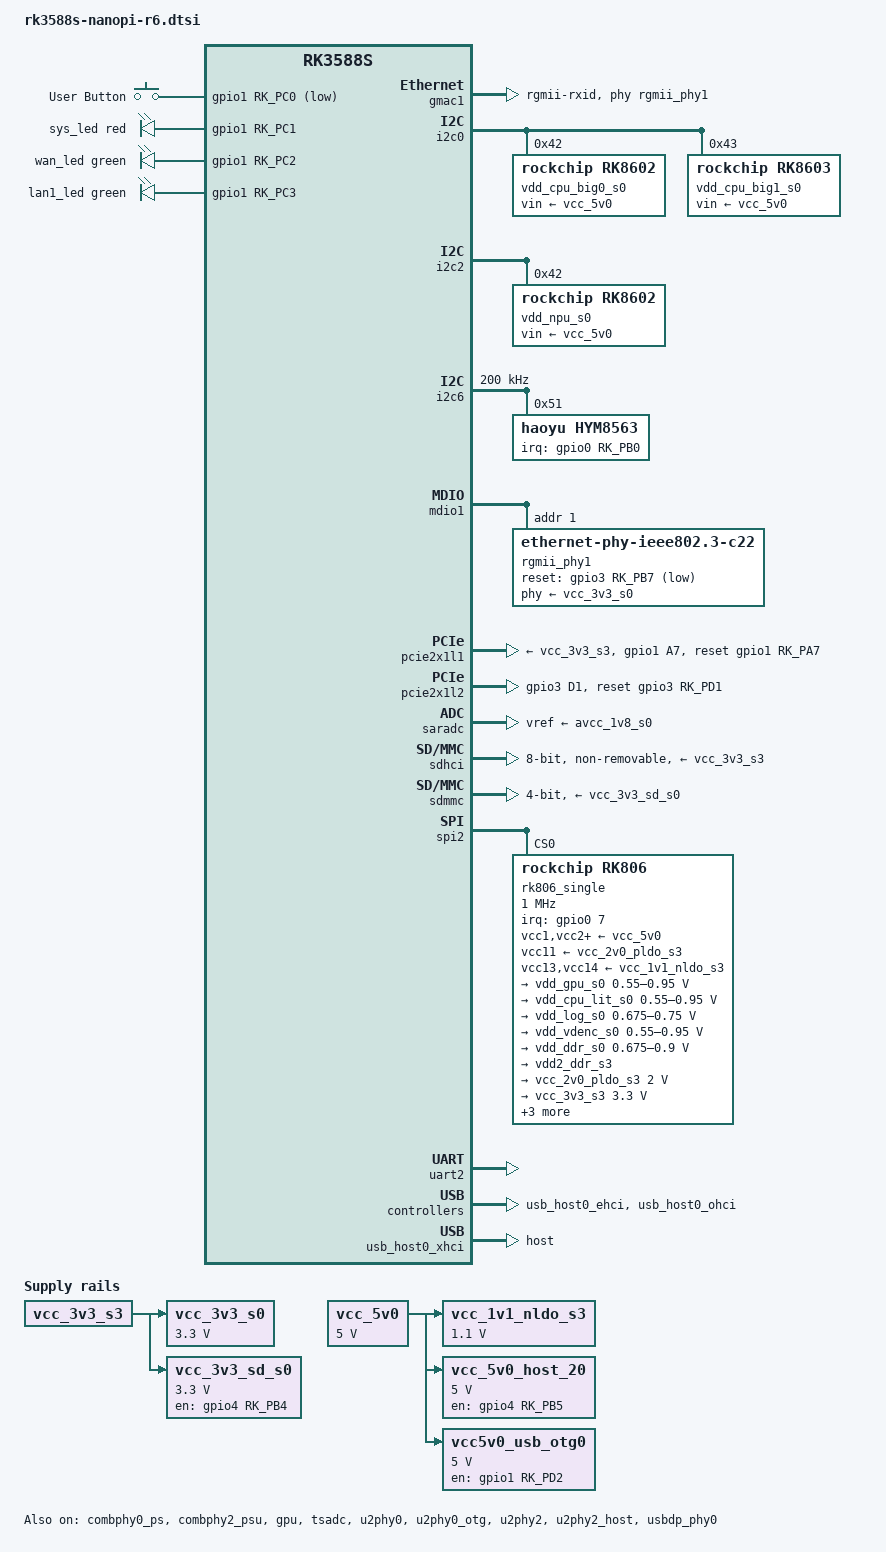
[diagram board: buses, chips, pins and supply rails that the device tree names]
// SPDX-License-Identifier: (GPL-2.0+ OR MIT)
/*
 * Common devicetree definitions for the NanoPi R6C and R6S
 */

/dts-v1/;

#include <dt-bindings/pinctrl/rockchip.h>
#include <dt-bindings/gpio/gpio.h>
#include <dt-bindings/input/input.h>
#include <dt-bindings/leds/common.h>
#include "rk3588s.dtsi"

/ {
	aliases {
		ethernet0 = &gmac1;
		mmc0 = &sdmmc;
		mmc1 = &sdhci;
	};

	chosen {
		stdout-path = "serial2:1500000n8";
	};

	gpio-keys {
		compatible = "gpio-keys";
		pinctrl-names = "default";
		pinctrl-0 = <&key1_pin>;

		button-user {
			debounce-interval = <50>;
			gpios = <&gpio1 RK_PC0 GPIO_ACTIVE_LOW>;
			label = "User Button";
			linux,code = <KEY_RESTART>;
		};
	};

	leds {
		compatible = "gpio-leds";

		sys_led: led-0 {
			color = <LED_COLOR_ID_RED>;
			function = LED_FUNCTION_HEARTBEAT;
			gpios = <&gpio1 RK_PC1 GPIO_ACTIVE_HIGH>;
			linux,default-trigger = "heartbeat";
			pinctrl-names = "default";
			pinctrl-0 = <&sys_led_pin>;
		};

		wan_led: led-1 {
			color = <LED_COLOR_ID_GREEN>;
			function = LED_FUNCTION_WAN;
			gpios = <&gpio1 RK_PC2 GPIO_ACTIVE_HIGH>;
			pinctrl-names = "default";
			pinctrl-0 = <&wan_led_pin>;
		};

		lan1_led: led-2 {
			color = <LED_COLOR_ID_GREEN>;
			function = LED_FUNCTION_LAN;
			gpios = <&gpio1 RK_PC3 GPIO_ACTIVE_HIGH>;
			pinctrl-names = "default";
			pinctrl-0 = <&lan1_led_pin>;
		};
	};

	vcc_5v0: regulator-vcc-5v0 {
		compatible = "regulator-fixed";
		regulator-always-on;
		regulator-boot-on;
		regulator-min-microvolt = <5000000>;
		regulator-max-microvolt = <5000000>;
		regulator-name = "vcc_5v0";
	};

	vcc_1v1_nldo_s3: regulator-vcc-1v1-nldo-s3 {
		compatible = "regulator-fixed";
		regulator-always-on;
		regulator-boot-on;
		regulator-min-microvolt = <1100000>;
		regulator-max-microvolt = <1100000>;
		regulator-name = "vcc_1v1_nldo_s3";
		vin-supply = <&vcc_5v0>;
	};

	/* SY6280AAC power switch (U3824 in schematics) */
	vcc_3v3_s0: regulator-vcc-3v3-s0 {
		compatible = "regulator-fixed";
		regulator-always-on;
		regulator-boot-on;
		regulator-min-microvolt = <3300000>;
		regulator-max-microvolt = <3300000>;
		regulator-name = "vcc_3v3_s0";
		vin-supply = <&vcc_3v3_s3>;
	};

	vcc_3v3_sd_s0: regulator-vcc-3v3-sd-s0 {
		compatible = "regulator-fixed";
		enable-active-high;
		gpios = <&gpio4 RK_PB4 GPIO_ACTIVE_HIGH>;
		pinctrl-names = "default";
		pinctrl-0 = <&sd_s0_pwr>;
		regulator-boot-on;
		regulator-max-microvolt = <3300000>;
		regulator-min-microvolt = <3300000>;
		regulator-name = "vcc_3v3_sd_s0";
		vin-supply = <&vcc_3v3_s3>;
	};

	/* SY6280AAC power switch (U9539 in schematics) */
	/* For USB 2.0 Type-A port */
	vcc_5v0_host_20: regulator-vcc-5v0-host-20 {
		compatible = "regulator-fixed";
		enable-active-high;
		gpios = <&gpio4 RK_PB5 GPIO_ACTIVE_HIGH>;
		pinctrl-names = "default";
		pinctrl-0 = <&usb_host_pwren_h>;
		regulator-min-microvolt = <5000000>;
		regulator-max-microvolt = <5000000>;
		regulator-name = "vcc_5v0_host_20";
		vin-supply = <&vcc_5v0>;
	};

	/* SY6280AAC power switch (U9538 in schematics) */
	/* For USB 3.0 Type-A port */
	vcc5v0_usb_otg0: regulator-vcc5v0-usb-otg0 {
		compatible = "regulator-fixed";
		enable-active-high;
		gpios = <&gpio1 RK_PD2 GPIO_ACTIVE_HIGH>;
		pinctrl-names = "default";
		pinctrl-0 = <&typec5v_pwren_h>;
		regulator-min-microvolt = <5000000>;
		regulator-max-microvolt = <5000000>;
		regulator-name = "vcc5v0_usb_otg0";
		vin-supply = <&vcc_5v0>;
	};
};

&combphy0_ps {
	status = "okay";
};

&combphy2_psu {
	status = "okay";
};

&cpu_b0 {
	cpu-supply = <&vdd_cpu_big0_s0>;
};

&cpu_b1 {
	cpu-supply = <&vdd_cpu_big0_s0>;
};

&cpu_b2 {
	cpu-supply = <&vdd_cpu_big1_s0>;
};

&cpu_b3 {
	cpu-supply = <&vdd_cpu_big1_s0>;
};

&cpu_l0 {
	cpu-supply = <&vdd_cpu_lit_s0>;
};

&cpu_l1 {
	cpu-supply = <&vdd_cpu_lit_s0>;
};

&cpu_l2 {
	cpu-supply = <&vdd_cpu_lit_s0>;
};

&cpu_l3 {
	cpu-supply = <&vdd_cpu_lit_s0>;
};

&gmac1 {
	clock_in_out = "output";
	phy-handle = <&rgmii_phy1>;
	phy-mode = "rgmii-rxid";
	pinctrl-names = "default";
	pinctrl-0 = <&gmac1_miim
		     &gmac1_tx_bus2
		     &gmac1_rx_bus2
		     &gmac1_rgmii_clk
		     &gmac1_rgmii_bus>;
	rx_delay = <0x00>;
	tx_delay = <0x42>;
	status = "okay";
};

&gpu {
	mali-supply = <&vdd_gpu_s0>;
	sram-supply = <&vdd_gpu_mem_s0>;
	status = "okay";
};

&i2c0 {
	pinctrl-names = "default";
	pinctrl-0 = <&i2c0m2_xfer>;
	status = "okay";

	vdd_cpu_big0_s0: regulator@42 {
		compatible = "rockchip,rk8602";
		reg = <0x42>;
		fcs,suspend-voltage-selector = <1>;
		regulator-always-on;
		regulator-boot-on;
		regulator-min-microvolt = <550000>;
		regulator-max-microvolt = <1050000>;
		regulator-name = "vdd_cpu_big0_s0";
		regulator-ramp-delay = <2300>;
		vin-supply = <&vcc_5v0>;

		regulator-state-mem {
			regulator-off-in-suspend;
		};
	};

	vdd_cpu_big1_s0: regulator@43 {
		compatible = "rockchip,rk8603", "rockchip,rk8602";
		reg = <0x43>;
		fcs,suspend-voltage-selector = <1>;
		regulator-always-on;
		regulator-boot-on;
		regulator-min-microvolt = <550000>;
		regulator-max-microvolt = <1050000>;
		regulator-name = "vdd_cpu_big1_s0";
		regulator-ramp-delay = <2300>;
		vin-supply = <&vcc_5v0>;

		regulator-state-mem {
			regulator-off-in-suspend;
		};
	};
};

&i2c2 {
	status = "okay";

	vdd_npu_s0: regulator@42 {
		compatible = "rockchip,rk8602";
		reg = <0x42>;
		fcs,suspend-voltage-selector = <1>;
		regulator-always-on;
		regulator-boot-on;
		regulator-min-microvolt = <550000>;
		regulator-max-microvolt = <950000>;
		regulator-name = "vdd_npu_s0";
		regulator-ramp-delay = <2300>;
		vin-supply = <&vcc_5v0>;

		regulator-state-mem {
			regulator-off-in-suspend;
		};
	};
};

&i2c6 {
	clock-frequency = <200000>;
	pinctrl-names = "default";
	pinctrl-0 = <&i2c6m0_xfer>;
	status = "okay";

	hym8563: rtc@51 {
		compatible = "haoyu,hym8563";
		reg = <0x51>;
		#clock-cells = <0>;
		clock-output-names = "hym8563";
		interrupt-parent = <&gpio0>;
		interrupts = <RK_PB0 IRQ_TYPE_LEVEL_LOW>;
		pinctrl-names = "default";
		pinctrl-0 = <&rtc_int>;
		wakeup-source;
	};
};

/* RTL8211F-CG Ethernet */
&mdio1 {
	rgmii_phy1: ethernet-phy@1 {
		compatible = "ethernet-phy-ieee802.3-c22";
		reg = <0x1>;
		phy-supply = <&vcc_3v3_s0>;
		pinctrl-names = "default";
		pinctrl-0 = <&gmac1_rstn_l>;
		reset-assert-us = <20000>;
		reset-deassert-us = <100000>;
		reset-gpios = <&gpio3 RK_PB7 GPIO_ACTIVE_LOW>;
	};
};

/* RTL8125BG Ethernet */
&pcie2x1l1 {
	pinctrl-names = "default";
	pinctrl-0 = <&pcie20x1_1_perstn_m2>;
	reset-gpios = <&gpio1 RK_PA7 GPIO_ACTIVE_HIGH>;
	vpcie3v3-supply = <&vcc_3v3_s3>;
	status = "okay";
};

/* R6C: M.2 M-Key socket */
/* R6S: RTL8125BG Ethernet */
&pcie2x1l2 {
	pinctrl-names = "default";
	pinctrl-0 = <&pcie20x1_2_perstn_m0>;
	reset-gpios = <&gpio3 RK_PD1 GPIO_ACTIVE_HIGH>;
	status = "okay";
};

&pinctrl {
	gpio-key {
		key1_pin: key1-pin {
			rockchip,pins = <1 RK_PC0 RK_FUNC_GPIO &pcfg_pull_up>;
		};
	};

	gpio-leds {
		sys_led_pin: sys-led-pin {
			rockchip,pins = <1 RK_PC1 RK_FUNC_GPIO &pcfg_pull_none>;
		};

		wan_led_pin: wan-led-pin {
			rockchip,pins = <1 RK_PC2 RK_FUNC_GPIO &pcfg_pull_none>;
		};

		lan1_led_pin: lan1-led-pin {
			rockchip,pins = <1 RK_PC3 RK_FUNC_GPIO &pcfg_pull_none>;
		};
	};

	hym8563 {
		rtc_int: rtc-int {
			rockchip,pins = <0 RK_PB0 RK_FUNC_GPIO &pcfg_pull_up>;
		};
	};

	pcie {
		pcie20x1_1_perstn_m2: pcie2x1-1-rst {
			rockchip,pins = <1 RK_PA7 RK_FUNC_GPIO &pcfg_pull_none>;
		};

		pcie20x1_2_perstn_m0: pcie2x1-2-rst {
			rockchip,pins = <3 RK_PD1 RK_FUNC_GPIO &pcfg_pull_none>;
		};
	};

	sdmmc {
		sd_s0_pwr: sd-pwr {
			rockchip,pins = <4 RK_PB4 RK_FUNC_GPIO &pcfg_pull_up>;
		};
	};

	usb {
		typec5v_pwren_h: usb3-pwren {
			rockchip,pins = <1 RK_PD2 RK_FUNC_GPIO &pcfg_pull_none>;
		};

		usb_host_pwren_h: usb2-pwren {
			rockchip,pins = <4 RK_PB5 RK_FUNC_GPIO &pcfg_pull_none>;
		};
	};

	rtl8211f {
		gmac1_rstn_l: rtl8211f-rst {
			rockchip,pins = <3 RK_PB7 RK_FUNC_GPIO &pcfg_pull_none>;
		};
	};
};

&saradc {
	vref-supply = <&avcc_1v8_s0>;
	status = "okay";
};

/* eMMC */
&sdhci {
	bus-width = <8>;
	mmc-hs200-1_8v;
	no-sd;
	no-sdio;
	non-removable;
	vmmc-supply = <&vcc_3v3_s3>;
	vqmmc-supply = <&vcc_1v8_s3>;
	status = "okay";
};

/* microSD card */
&sdmmc {
	bus-width = <4>;
	cap-sd-highspeed;
	disable-wp;
	max-frequency = <150000000>;
	no-mmc;
	no-sdio;
	sd-uhs-sdr104;
	vmmc-supply = <&vcc_3v3_sd_s0>;
	vqmmc-supply = <&vccio_sd_s0>;
	status = "okay";
};

&spi2 {
	assigned-clocks = <&cru CLK_SPI2>;
	assigned-clock-rates = <200000000>;
	num-cs = <1>;
	pinctrl-names = "default";
	pinctrl-0 = <&spi2m2_cs0 &spi2m2_pins>;
	status = "okay";

	rk806_single: pmic@0 {
		compatible = "rockchip,rk806";
		reg = <0x0>;

		interrupt-parent = <&gpio0>;
		interrupts = <7 IRQ_TYPE_LEVEL_LOW>;

		pinctrl-names = "default";
		pinctrl-0 = <&pmic_pins>, <&rk806_dvs1_null>,
			    <&rk806_dvs2_null>, <&rk806_dvs3_null>;

		spi-max-frequency = <1000000>;
		system-power-controller;

		vcc1-supply = <&vcc_5v0>;
		vcc2-supply = <&vcc_5v0>;
		vcc3-supply = <&vcc_5v0>;
		vcc4-supply = <&vcc_5v0>;
		vcc5-supply = <&vcc_5v0>;
		vcc6-supply = <&vcc_5v0>;
		vcc7-supply = <&vcc_5v0>;
		vcc8-supply = <&vcc_5v0>;
		vcc9-supply = <&vcc_5v0>;
		vcc10-supply = <&vcc_5v0>;
		vcc11-supply = <&vcc_2v0_pldo_s3>;
		vcc12-supply = <&vcc_5v0>;
		vcc13-supply = <&vcc_1v1_nldo_s3>;
		vcc14-supply = <&vcc_1v1_nldo_s3>;
		vcca-supply = <&vcc_5v0>;

		gpio-controller;
		#gpio-cells = <2>;

		rk806_dvs1_null: dvs1-null-pins {
			pins = "gpio_pwrctrl1";
			function = "pin_fun0";
		};

		rk806_dvs2_null: dvs2-null-pins {
			pins = "gpio_pwrctrl2";
			function = "pin_fun0";
		};

		rk806_dvs3_null: dvs3-null-pins {
			pins = "gpio_pwrctrl3";
			function = "pin_fun0";
		};

		regulators {
			vdd_gpu_s0: vdd_gpu_mem_s0: dcdc-reg1 {
				regulator-boot-on;
				regulator-min-microvolt = <550000>;
				regulator-max-microvolt = <950000>;
				regulator-ramp-delay = <12500>;
				regulator-name = "vdd_gpu_s0";
				regulator-enable-ramp-delay = <400>;

				regulator-state-mem {
					regulator-off-in-suspend;
				};
			};

			vdd_cpu_lit_s0: vdd_cpu_lit_mem_s0: dcdc-reg2 {
				regulator-always-on;
				regulator-boot-on;
				regulator-min-microvolt = <550000>;
				regulator-max-microvolt = <950000>;
				regulator-ramp-delay = <12500>;
				regulator-name = "vdd_cpu_lit_s0";

				regulator-state-mem {
					regulator-off-in-suspend;
				};
			};

			vdd_log_s0: dcdc-reg3 {
				regulator-always-on;
				regulator-boot-on;
				regulator-min-microvolt = <675000>;
				regulator-max-microvolt = <750000>;
				regulator-ramp-delay = <12500>;
				regulator-name = "vdd_log_s0";

				regulator-state-mem {
					regulator-off-in-suspend;
					regulator-suspend-microvolt = <750000>;
				};
			};

			vdd_vdenc_s0: vdd_vdenc_mem_s0: dcdc-reg4 {
				regulator-always-on;
				regulator-boot-on;
				regulator-min-microvolt = <550000>;
				regulator-max-microvolt = <950000>;
				regulator-ramp-delay = <12500>;
				regulator-name = "vdd_vdenc_s0";

				regulator-state-mem {
					regulator-off-in-suspend;
				};
			};

			vdd_ddr_s0: dcdc-reg5 {
				regulator-always-on;
				regulator-boot-on;
				regulator-min-microvolt = <675000>;
				regulator-max-microvolt = <900000>;
				regulator-ramp-delay = <12500>;
				regulator-name = "vdd_ddr_s0";

				regulator-state-mem {
					regulator-off-in-suspend;
					regulator-suspend-microvolt = <850000>;
				};
			};

			vdd2_ddr_s3: dcdc-reg6 {
				regulator-always-on;
				regulator-boot-on;
				regulator-name = "vdd2_ddr_s3";

				regulator-state-mem {
					regulator-on-in-suspend;
				};
			};

			vcc_2v0_pldo_s3: dcdc-reg7 {
				regulator-always-on;
				regulator-boot-on;
				regulator-min-microvolt = <2000000>;
				regulator-max-microvolt = <2000000>;
				regulator-ramp-delay = <12500>;
				regulator-name = "vdd_2v0_pldo_s3";

				regulator-state-mem {
					regulator-on-in-suspend;
					regulator-suspend-microvolt = <2000000>;
				};
			};

			vcc_3v3_s3: dcdc-reg8 {
				regulator-always-on;
				regulator-boot-on;
				regulator-min-microvolt = <3300000>;
				regulator-max-microvolt = <3300000>;
				regulator-name = "vcc_3v3_s3";

				regulator-state-mem {
					regulator-on-in-suspend;
					regulator-suspend-microvolt = <3300000>;
				};
			};

			vddq_ddr_s0: dcdc-reg9 {
				regulator-always-on;
				regulator-boot-on;
				regulator-name = "vddq_ddr_s0";

				regulator-state-mem {
					regulator-off-in-suspend;
				};
			};

			vcc_1v8_s3: dcdc-reg10 {
				regulator-always-on;
				regulator-boot-on;
				regulator-min-microvolt = <1800000>;
				regulator-max-microvolt = <1800000>;
				regulator-name = "vcc_1v8_s3";

				regulator-state-mem {
					regulator-on-in-suspend;
					regulator-suspend-microvolt = <1800000>;
				};
			};

			avcc_1v8_s0: pldo-reg1 {
				regulator-always-on;
				regulator-boot-on;
				regulator-min-microvolt = <1800000>;
				regulator-max-microvolt = <1800000>;
				regulator-name = "avcc_1v8_s0";

				regulator-state-mem {
					regulator-off-in-suspend;
					regulator-suspend-microvolt = <1800000>;
				};
			};

			vcc_1v8_s0: pldo-reg2 {
				regulator-always-on;
				regulator-boot-on;
				regulator-min-microvolt = <1800000>;
				regulator-max-microvolt = <1800000>;
				regulator-name = "vcc_1v8_s0";

				regulator-state-mem {
					regulator-off-in-suspend;
					regulator-suspend-microvolt = <1800000>;
				};
			};

			avdd_1v2_s0: pldo-reg3 {
				regulator-always-on;
				regulator-boot-on;
				regulator-min-microvolt = <1200000>;
				regulator-max-microvolt = <1200000>;
				regulator-name = "avdd_1v2_s0";

				regulator-state-mem {
					regulator-off-in-suspend;
				};
			};

			avcc_3v3_s0: pldo-reg4 {
				regulator-always-on;
				regulator-boot-on;
				regulator-min-microvolt = <3300000>;
				regulator-max-microvolt = <3300000>;
				regulator-ramp-delay = <12500>;
				regulator-name = "avcc_3v3_s0";

				regulator-state-mem {
					regulator-off-in-suspend;
				};
			};

			vccio_sd_s0: pldo-reg5 {
				regulator-always-on;
				regulator-boot-on;
				regulator-min-microvolt = <1800000>;
				regulator-max-microvolt = <3300000>;
				regulator-ramp-delay = <12500>;
				regulator-name = "vccio_sd_s0";

				regulator-state-mem {
					regulator-off-in-suspend;
				};
			};

			pldo6_s3: pldo-reg6 {
				regulator-always-on;
				regulator-boot-on;
				regulator-min-microvolt = <1800000>;
				regulator-max-microvolt = <1800000>;
				regulator-name = "pldo6_s3";

				regulator-state-mem {
					regulator-on-in-suspend;
					regulator-suspend-microvolt = <1800000>;
				};
			};

			vdd_0v75_s3: nldo-reg1 {
				regulator-always-on;
				regulator-boot-on;
				regulator-min-microvolt = <750000>;
				regulator-max-microvolt = <750000>;
				regulator-name = "vdd_0v75_s3";

				regulator-state-mem {
					regulator-on-in-suspend;
					regulator-suspend-microvolt = <750000>;
				};
			};

			avdd_ddr_pll_s0: nldo-reg2 {
				regulator-always-on;
				regulator-boot-on;
				regulator-min-microvolt = <850000>;
				regulator-max-microvolt = <850000>;
				regulator-name = "avdd_ddr_pll_s0";

				regulator-state-mem {
					regulator-off-in-suspend;
					regulator-suspend-microvolt = <850000>;
				};
			};

			avdd_0v75_s0: nldo-reg3 {
				regulator-always-on;
				regulator-boot-on;
				regulator-min-microvolt = <750000>;
				regulator-max-microvolt = <750000>;
				regulator-name = "avdd_0v75_s0";

				regulator-state-mem {
					regulator-off-in-suspend;
				};
			};

			avdd_0v85_s0: nldo-reg4 {
				regulator-always-on;
				regulator-boot-on;
				regulator-min-microvolt = <850000>;
				regulator-max-microvolt = <850000>;
				regulator-name = "avdd_0v85_s0";

				regulator-state-mem {
					regulator-off-in-suspend;
				};
			};

			vdd_0v75_s0: nldo-reg5 {
				regulator-always-on;
				regulator-boot-on;
				regulator-min-microvolt = <750000>;
				regulator-max-microvolt = <750000>;
				regulator-name = "vdd_0v75_s0";

				regulator-state-mem {
					regulator-off-in-suspend;
				};
			};
		};
	};
};

&tsadc {
	status = "okay";
};

/* USB2 PHY for USB 3.0 Type-A (lower port)*/
&u2phy0 {
	status = "okay";
};

&u2phy0_otg {
	phy-supply = <&vcc5v0_usb_otg0>;
	status = "okay";
};

/* USB2 PHY for USB 2.0 Type-A (upper port)*/
&u2phy2 {
	status = "okay";
};

&u2phy2_host {
	phy-supply = <&vcc_5v0_host_20>;
	status = "okay";
};

/* Debug UART */
&uart2 {
	pinctrl-0 = <&uart2m0_xfer>;
	status = "okay";
};

/* USB 2.0 Type-A (upper port) */
/* PHY: <&u2phy2_host> */
&usb_host0_ehci {
	status = "okay";
};

/* USB 2.0 Type-A (upper port) */
/* PHY: <&u2phy2_host> */
&usb_host0_ohci {
	status = "okay";
};

/* USB 3.0 Type-A (lower port) */
/* PHYs: <&u2phy0_otg>, <&usbdp_phy0> */
&usb_host0_xhci {
	dr_mode = "host";
	extcon = <&u2phy0>;
	status = "okay";
};

/* USB3 PHY for USB 3.0 Type-A (lower port)*/
&usbdp_phy0 {
	status = "okay";
};
